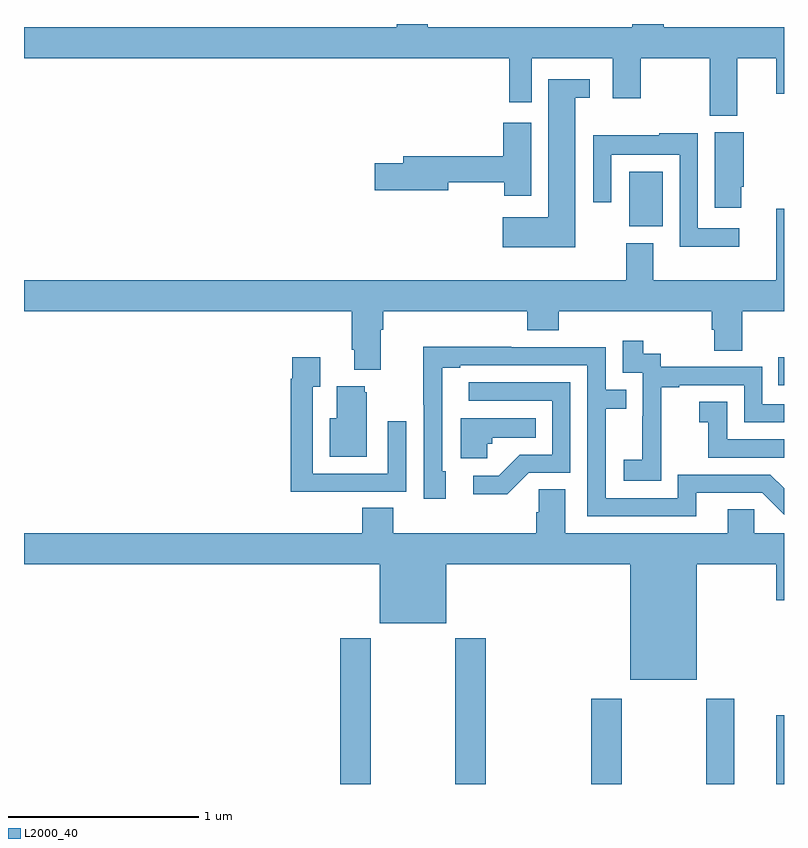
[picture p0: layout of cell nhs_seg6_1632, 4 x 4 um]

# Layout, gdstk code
import gdstk
lib = gdstk.Library(unit=1e-6, precision=1e-09)
def R(c, l, rs):  # rectangles x0, y0, x1, y1
    for r in rs: c.add(gdstk.rectangle(r[:2], r[2:], *l))
def P(c, l, *ps):  # polygons
    for p in ps: c.add(gdstk.Polygon(p, *l))
L2000_40 = (2000, 40)

nhs_seg6_1632 = lib.new_cell('nhs_seg6_1632')
R(nhs_seg6_1632, L2000_40, [(210.665,959.5,210.825,960.268), (211.27,959.5,211.43,960.268), (211.985,959.5,212.145,959.95), (212.59,959.5,212.737,959.95), (212.96,959.5,213,959.863), (212.971,961.599,213,961.747), (212.186,962.435,212.362,962.722)])
P(nhs_seg6_1632, L2000_40, [(212.755,963.32),(212.96,963.32),(212.96,963.132),(213,963.132),(213,963.484),(212.366,963.484),(212.366,963.5),(212.201,963.5),(212.201,963.484),(211.126,963.484),(211.126,963.5),(210.962,963.5),(210.962,963.484),(209,963.484),(209,963.32),(211.554,963.32),(211.554,963.087),(211.672,963.087),(211.672,963.32),(212.099,963.32),(212.099,963.108),(212.247,963.108),(212.247,963.32),(212.608,963.32),(212.608,963.016),(212.755,963.016)],
  [(211.9,963.113),(211.978,963.113),(211.978,963.21),(211.76,963.21),(211.76,962.482),(211.52,962.482),(211.52,962.324),(211.9,962.324)],
  [(211.669,962.98),(211.523,962.98),(211.523,962.804),(210.995,962.804),(210.995,962.768),(210.846,962.768),(210.846,962.626),(211.234,962.626),(211.234,962.668),(211.528,962.668),(211.528,962.595),(211.669,962.595)],
  [(212.776,962.644),(212.789,962.644),(212.789,962.931),(212.636,962.931),(212.636,962.532),(212.776,962.532)],
  [(212.764,962.424),(212.547,962.424),(212.547,962.924),(212.344,962.924),(212.344,962.914),(211.995,962.914),(211.995,962.562),(212.091,962.562),(212.091,962.813),(212.451,962.813),(212.451,962.327),(212.764,962.327)],
  [(210.877,961.892),(210.89,961.892),(210.89,961.988),(211.649,961.988),(211.649,961.889),(211.814,961.889),(211.814,961.988),(212.621,961.988),(212.621,961.89),(212.633,961.89),(212.633,961.78),(212.781,961.78),(212.781,961.988),(213,961.988),(213,962.527),(212.96,962.527),(212.96,962.152),(212.311,962.152),(212.311,962.347),(212.171,962.347),(212.171,962.152),(209,962.152),(209,961.988),(210.725,961.988),(210.725,961.786),(210.737,961.786),(210.737,961.679),(210.877,961.679)],
  [(212.355,961.303),(212.354,961.303),(212.354,961.587),(212.449,961.587),(212.449,961.599),(212.79,961.599),(212.79,961.404),(213,961.404),(213,961.5),(212.886,961.5),(212.886,961.695),(212.352,961.695),(212.352,961.764),(212.26,961.764),(212.26,961.834),(212.151,961.834),(212.151,961.665),(212.256,961.665),(212.256,961.436),(212.255,961.436),(212.255,961.207),(212.157,961.207),(212.157,961.097),(212.355,961.097)],
  [(212.539,961.032),(212.886,961.032),(213,960.918),(213,961.056),(212.928,961.128),(212.442,961.128),(212.442,961.005),(212.061,961.005),(212.061,961.474),(212.171,961.474),(212.171,961.575),(212.061,961.575),(212.061,961.8),(211.565,961.8),(211.565,961.802),(211.102,961.802),(211.102,961.495),(211.104,961.495),(211.104,961.002),(211.219,961.002),(211.219,961.146),(211.2,961.146),(211.2,961.692),(211.297,961.692),(211.297,961.704),(211.965,961.704),(211.965,960.909),(212.539,960.909)],
  [(210.695,961.038),(211.011,961.038),(211.011,961.408),(210.915,961.408),(210.915,961.134),(210.519,961.134),(210.519,961.591),(210.559,961.591),(210.559,961.747),(210.411,961.747),(210.411,961.634),(210.403,961.634),(210.403,961.037),(210.695,961.037)],
  [(211.656,961.137),(211.875,961.137),(211.875,961.614),(211.341,961.614),(211.341,961.518),(211.779,961.518),(211.779,961.233),(211.61,961.233),(211.499,961.122),(211.365,961.122),(211.365,961.025),(211.543,961.025)],
  [(210.805,961.563),(210.794,961.563),(210.794,961.594),(210.647,961.594),(210.647,961.426),(210.608,961.426),(210.608,961.223),(210.805,961.223)],
  [(213,961.314),(212.7,961.314),(212.7,961.513),(212.553,961.513),(212.553,961.403),(212.602,961.403),(212.602,961.218),(213,961.218)],
  [(211.437,961.29),(211.464,961.29),(211.464,961.322),(211.694,961.322),(211.694,961.426),(211.298,961.426),(211.298,961.214),(211.437,961.214)],
  [(212.542,960.656),(212.96,960.656),(212.96,960.468),(213,960.468),(213,960.82),(212.844,960.82),(212.844,960.947),(212.705,960.947),(212.705,960.82),(211.849,960.82),(211.849,961.052),(211.71,961.052),(211.71,960.929),(211.697,960.929),(211.697,960.82),(210.944,960.82),(210.944,960.953),(210.779,960.953),(210.779,960.82),(209,960.82),(209,960.656),(210.872,960.656),(210.872,960.347),(211.222,960.347),(211.222,960.656),(212.192,960.656),(212.192,960.05),(212.542,960.05)])

lib.write_gds('nhs_seg6_1632.gds')
